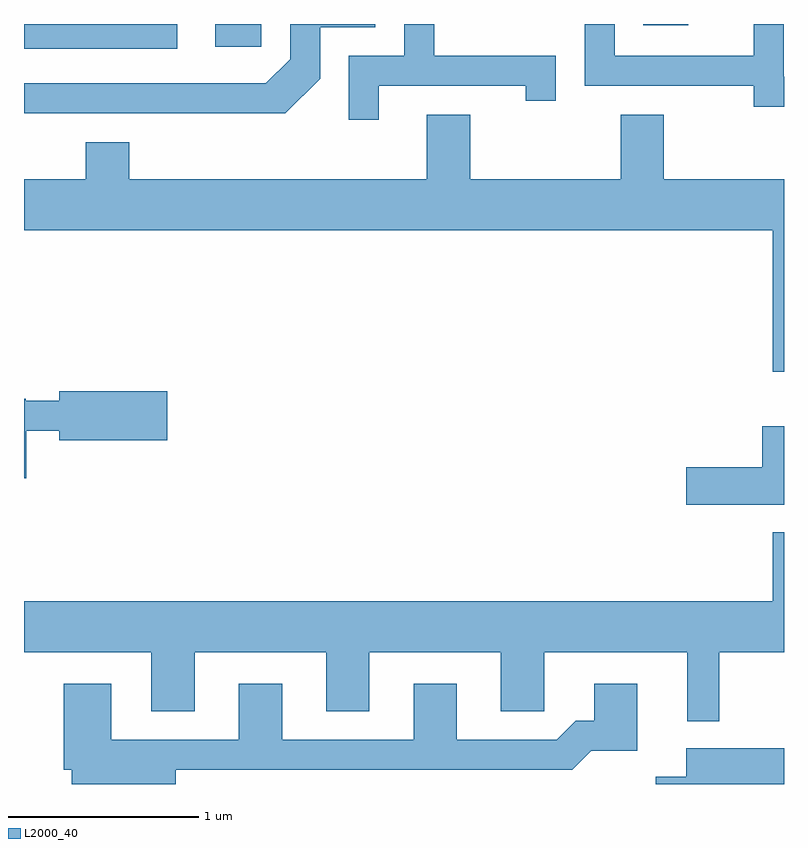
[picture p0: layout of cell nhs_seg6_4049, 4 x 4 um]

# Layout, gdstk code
import gdstk
lib = gdstk.Library(unit=1e-6, precision=1e-09)
def R(c, l, rs):  # rectangles x0, y0, x1, y1
    for r in rs: c.add(gdstk.rectangle(r[:2], r[2:], *l))
def P(c, l, *ps):  # polygons
    for p in ps: c.add(gdstk.Polygon(p, *l))
L2000_40 = (2000, 40)

nhs_seg6_4049 = lib.new_cell('nhs_seg6_4049')
R(nhs_seg6_4049, L2000_40, [(307.611,1622.031,308.418,1622.162), (308.618,1622.041,308.859,1622.162), (310.871,1622.156,311.108,1622.162)])
P(nhs_seg6_4049, L2000_40, [(309.169,1621.874),(309.169,1622.146),(309.459,1622.146),(309.459,1622.162),(309.011,1622.162),(309.011,1621.977),(308.884,1621.849),(307.611,1621.849),(307.611,1621.691),(308.987,1621.691)],
  [(311.611,1621.884),(311.609,1621.884),(311.609,1622.162),(311.451,1622.162),(311.451,1621.994),(310.719,1621.994),(310.719,1622.162),(309.921,1622.162),(309.921,1622.161),(310.561,1622.161),(310.561,1621.836),(311.451,1621.836),(311.451,1621.726),(311.611,1621.726)],
  [(309.479,1621.836),(310.251,1621.836),(310.251,1621.758),(310.409,1621.758),(310.409,1621.994),(309.769,1621.994),(309.769,1622.162),(309.611,1622.162),(309.611,1621.994),(309.321,1621.994),(309.321,1621.658),(309.479,1621.658)],
  [(307.936,1621.539),(307.936,1621.344),(307.611,1621.344),(307.611,1621.076),(311.551,1621.076),(311.551,1620.333),(311.611,1620.333),(311.611,1621.344),(310.979,1621.344),(310.979,1621.684),(310.751,1621.684),(310.751,1621.344),(309.959,1621.344),(309.959,1621.684),(309.731,1621.684),(309.731,1621.344),(308.164,1621.344),(308.164,1621.539)],
  [(307.624,1620.021),(307.796,1620.021),(307.796,1619.971),(308.364,1619.971),(308.364,1620.229),(307.796,1620.229),(307.796,1620.179),(307.62,1620.179),(307.62,1620.189),(307.611,1620.189),(307.611,1619.771),(307.624,1619.771)],
  [(311.611,1620.044),(311.496,1620.044),(311.496,1619.829),(311.096,1619.829),(311.096,1619.631),(311.611,1619.631)],
  [(311.269,1618.856),(311.611,1618.856),(311.611,1619.488),(311.551,1619.488),(311.551,1619.124),(307.611,1619.124),(307.611,1618.856),(308.281,1618.856),(308.281,1618.546),(308.509,1618.546),(308.509,1618.856),(309.201,1618.856),(309.201,1618.546),(309.429,1618.546),(309.429,1618.856),(310.121,1618.856),(310.121,1618.546),(310.349,1618.546),(310.349,1618.856),(311.101,1618.856),(311.101,1618.493),(311.269,1618.493)],
  [(308.409,1618.236),(310.497,1618.236),(310.597,1618.336),(310.839,1618.336),(310.839,1618.689),(310.611,1618.689),(310.611,1618.494),(310.514,1618.494),(310.414,1618.394),(309.889,1618.394),(309.889,1618.689),(309.661,1618.689),(309.661,1618.394),(308.969,1618.394),(308.969,1618.689),(308.741,1618.689),(308.741,1618.394),(308.069,1618.394),(308.069,1618.689),(307.821,1618.689),(307.821,1618.236),(307.861,1618.236),(307.861,1618.162),(308.409,1618.162)],
  [(311.611,1618.349),(311.096,1618.349),(311.096,1618.199),(310.936,1618.199),(310.936,1618.162),(311.611,1618.162)])

lib.write_gds('nhs_seg6_4049.gds')
